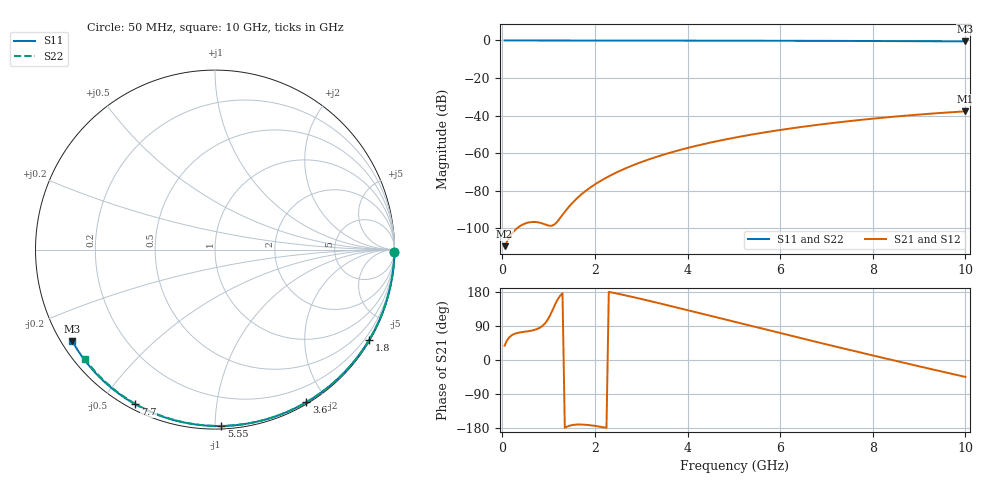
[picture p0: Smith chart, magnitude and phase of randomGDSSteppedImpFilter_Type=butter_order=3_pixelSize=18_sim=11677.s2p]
! freq	dB(S11)	phase(S11)	dB(S12)	phase(S12)
!  dB(S21)	phase(S21)	dB(S22)	phase(S22)
!S-par simulation data
#  GHz  S  DB  R 50
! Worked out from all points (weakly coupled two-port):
!   200 points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, 50 MHz to 10 GHz, reference 50 ohm
!   highest |S21| = -37.76 dB at 10 GHz (marker M1); lowest = -109.5 dB at 50 MHz (marker M2)
!   lowest |S11| = -0.5 dB at 10 GHz (marker M3), VSWR 35.23, Z = 1.54 - j14.7 ohm
!   |S11| at or under -10 dB: nowhere
!   |S22| runs from -0.5 to 0.0 dB; largest |S21 - S12| = 0
!   S11 on the Smith chart (normalised r, x): 50 MHz: open; 1.8 GHz: 0.03, -3.69; 3.6 GHz: 0.02, -1.77; 5.55 GHz: 0.02, -1.04; 7.7 GHz: 0.02, -0.61; 10 GHz: 0.03, -0.29
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0.05  -0.00 -0.9  -109.55 38.0  -109.55 38.0  -0.00 -0.8
0.45  -0.01 -7.7  -97.93 74.1  -97.93 74.1  -0.01 -7.3
0.9  -0.02 -15.3  -97.76 93.6  -97.76 93.6  -0.02 -14.6
1.3  -0.03 -22.0  -92.87 176.2  -92.87 176.2  -0.03 -20.9
1.75  -0.04 -29.5  -81.11 -170.5  -81.11 -170.5  -0.04 -28.0
1.8  -0.04 -30.3  -80.13 -171.0  -80.13 -171.0  -0.04 -28.8
2  -0.04 -33.6  -76.65 -173.8  -76.65 -173.8  -0.04 -32.0
2.15  -0.05 -36.0  -74.39 -176.8  -74.39 -176.8  -0.04 -34.3
2.5  -0.05 -41.7  -69.89 174.8  -69.89 174.8  -0.05 -39.7
2.9  -0.06 -48.1  -65.71 163.9  -65.71 163.9  -0.06 -45.8
3.4  -0.07 -55.9  -61.43 149.4  -61.43 149.4  -0.07 -53.3
3.6  -0.08 -59.0  -59.94 143.5  -59.94 143.5  -0.08 -56.3
3.9  -0.09 -63.6  -57.90 134.5  -57.90 134.5  -0.08 -60.7
4.3  -0.10 -69.7  -55.47 122.4  -55.47 122.4  -0.09 -66.4
5.05  -0.12 -80.7  -51.60 99.6  -51.60 99.6  -0.12 -77.0
5.55  -0.14 -87.9  -49.42 84.5  -49.42 84.5  -0.14 -83.9
6.1  -0.17 -95.6  -47.30 68.0  -47.30 68.0  -0.16 -91.2
6.7  -0.20 -103.9  -45.27 50.1  -45.27 50.1  -0.19 -99.1
7.7  -0.27 -117.2  -42.40 20.7  -42.40 20.7  -0.26 -111.8
8.35  -0.32 -125.8  -40.82 1.9  -40.82 1.9  -0.31 -119.9
9.2  -0.40 -136.8  -39.08 -22.3  -39.08 -22.3  -0.39 -130.3
10  -0.49 -147.2  -37.76 -44.6  -37.76 -44.6  -0.48 -140.1
